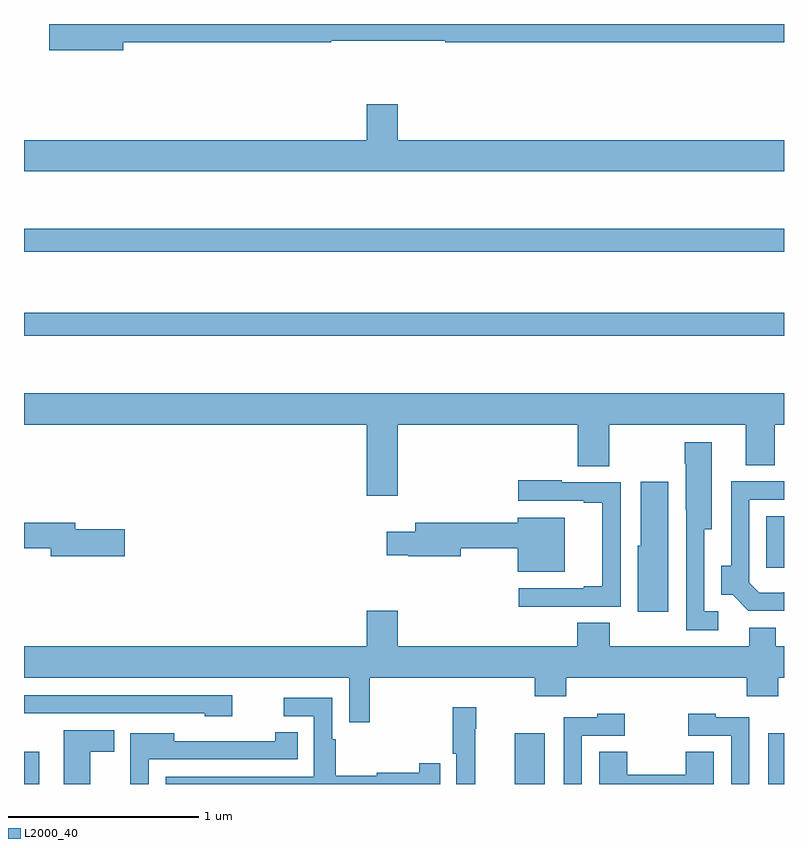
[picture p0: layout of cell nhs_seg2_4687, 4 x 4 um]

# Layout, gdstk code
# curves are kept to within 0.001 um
import gdstk
lib = gdstk.Library(unit=1e-6, precision=1e-09)
def R(c, l, rs):  # rectangles x0, y0, x1, y1
    for r in rs: c.add(gdstk.rectangle(r[:2], r[2:], *l))
def P(c, l, *ps):  # polygons
    for p in ps: c.add(gdstk.Polygon(p, *l))
L2000_40 = (2000, 40)

nhs_seg2_4687 = lib.new_cell('nhs_seg2_4687')
R(nhs_seg2_4687, L2000_40, [(367,589.8,367.08,589.971), (369.584,589.8,369.742,590.068), (370.916,589.8,371,590.068), (370.907,590.937,371,591.208), (367,592.158,371,592.279), (367,592.602,371,592.723)])
P(nhs_seg2_4687, L2000_40, [(367.522,593.704),(368.618,593.704),(368.618,593.712),(369.218,593.712),(369.218,593.704),(371,593.704),(371,593.8),(367.134,593.8),(367.134,593.662),(367.522,593.662)],
  [(371,593.188),(368.968,593.188),(368.968,593.377),(368.804,593.377),(368.804,593.188),(367,593.188),(367,593.024),(371,593.024)],
  [(368.968,591.692),(369.914,591.692),(369.914,591.472),(370.08,591.472),(370.08,591.692),(370.799,591.692),(370.799,591.478),(370.952,591.478),(370.952,591.692),(371,591.692),(371,591.856),(367,591.856),(367,591.692),(368.804,591.692),(368.804,591.318),(368.968,591.318)],
  [(370.654,590.709),(370.581,590.709),(370.581,591.14),(370.621,591.14),(370.621,591.598),(370.477,591.598),(370.477,591.485),(370.484,591.485),(370.484,591.244),(370.485,591.244),(370.485,590.609),(370.654,590.609)],
  [(369.827,590.733),(370.14,590.733),(370.14,591.387),(369.83,591.387),(369.83,591.4),(369.6,591.4),(369.6,591.291),(369.947,591.291),(369.947,591.279),(370.043,591.279),(370.043,590.842),(369.947,590.842),(369.947,590.829),(369.603,590.829),(369.603,590.732),(369.827,590.732)],
  [(371,590.808),(370.871,590.807),(370.818,590.859),(370.818,591.297),(371,591.297),(371,591.393),(370.722,591.393),(370.722,590.948),(370.67,590.948),(370.67,590.795),(370.729,590.795),(370.812,590.712),(371,590.712)],
  [(370.39,591.391),(370.247,591.391),(370.247,591.054),(370.229,591.054),(370.229,590.706),(370.39,590.706)],
  [(369.847,591.202),(369.599,591.202),(369.599,591.176),(369.059,591.176),(369.059,591.127),(368.91,591.127),(368.91,591.005),(369.022,591.005),(369.022,590.998),(369.298,590.998),(369.298,591.04),(369.599,591.04),(369.599,590.918),(369.847,590.918)],
  [(367.531,591.14),(367.27,591.14),(367.27,591.176),(367,591.176),(367,591.04),(367.142,591.04),(367.142,590.998),(367.531,590.998)],
  [(368.821,590.36),(369.689,590.36),(369.689,590.261),(369.854,590.261),(369.854,590.36),(370.805,590.36),(370.805,590.261),(370.97,590.261),(370.97,590.36),(371,590.36),(371,590.524),(370.957,590.524),(370.957,590.623),(370.817,590.623),(370.817,590.524),(370.083,590.524),(370.083,590.648),(369.911,590.648),(369.911,590.524),(368.968,590.524),(368.968,590.713),(368.804,590.713),(368.804,590.524),(367,590.524),(367,590.36),(368.712,590.36),(368.712,590.124),(368.821,590.124)],
  [(368.095,590.268),(367,590.268),(367,590.172),(367.95,590.172),(367.95,590.156),(368.095,590.156)],
  [(369.191,589.909),(369.08,589.909),(369.08,589.859),(368.856,589.859),(368.856,589.844),(368.642,589.844),(368.642,590.036),(368.622,590.036),(368.622,590.253),(368.367,590.253),(368.367,590.157),(368.526,590.157),(368.526,589.839),(367.746,589.839),(367.746,589.8),(369.191,589.8)],
  [(369.374,590.09),(369.38,590.09),(369.38,590.203),(369.256,590.203),(369.256,589.958),(369.276,589.958),(369.276,589.8),(369.374,589.8)],
  [(369.936,590.055),(370.162,590.055),(370.162,590.17),(370.017,590.17),(370.017,590.151),(369.84,590.151),(369.84,589.8),(369.936,589.8)],
  [(370.818,590.151),(370.641,590.151),(370.641,590.17),(370.497,590.17),(370.497,590.055),(370.722,590.055),(370.722,589.8),(370.818,589.8)],
  [(367.348,589.969),(367.475,589.969),(367.475,590.083),(367.208,590.083),(367.208,589.8),(367.348,589.8)],
  [(367.656,589.929),(368.441,589.929),(368.441,590.072),(368.323,590.072),(368.323,590.026),(367.792,590.026),(367.792,590.068),(367.56,590.068),(367.56,589.832),(367.559,589.832),(367.559,589.8),(367.656,589.8)],
  [(370.63,589.97),(370.483,589.97),(370.483,589.85),(370.176,589.85),(370.176,589.97),(370.028,589.97),(370.028,589.8),(370.63,589.8)])

lib.write_gds('nhs_seg2_4687.gds')
